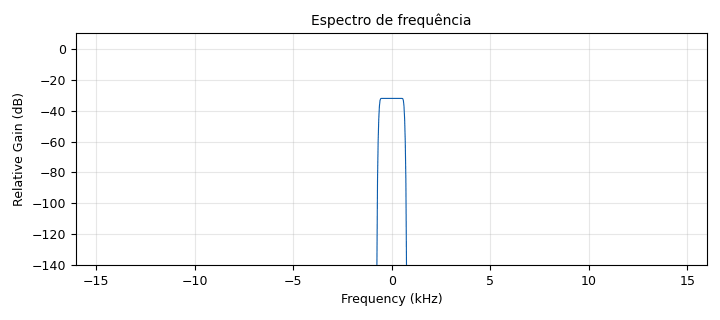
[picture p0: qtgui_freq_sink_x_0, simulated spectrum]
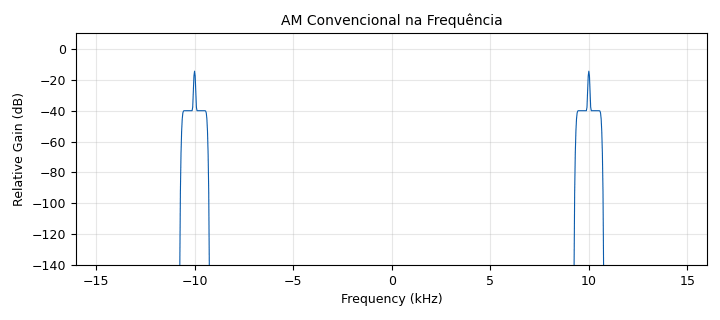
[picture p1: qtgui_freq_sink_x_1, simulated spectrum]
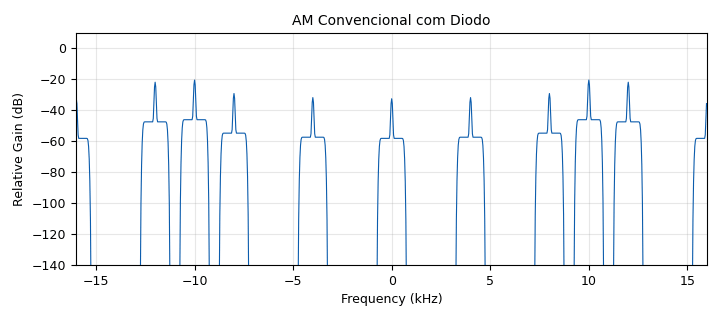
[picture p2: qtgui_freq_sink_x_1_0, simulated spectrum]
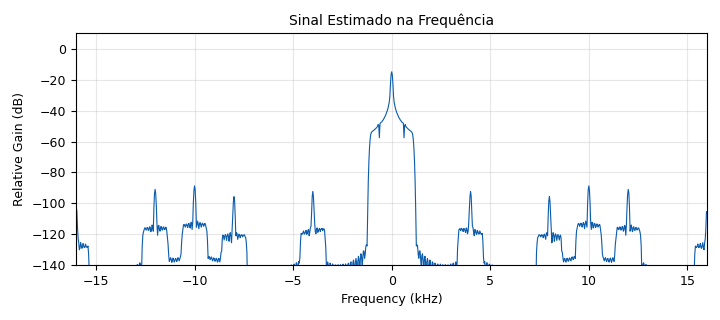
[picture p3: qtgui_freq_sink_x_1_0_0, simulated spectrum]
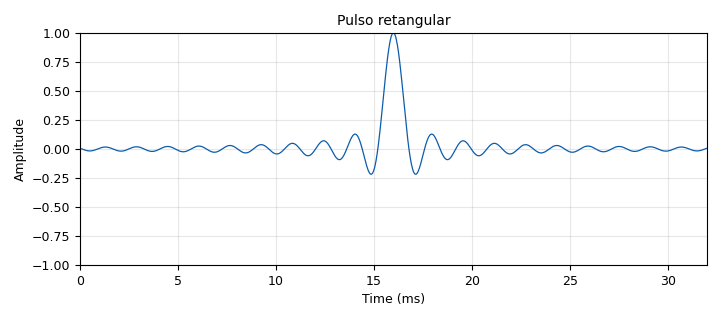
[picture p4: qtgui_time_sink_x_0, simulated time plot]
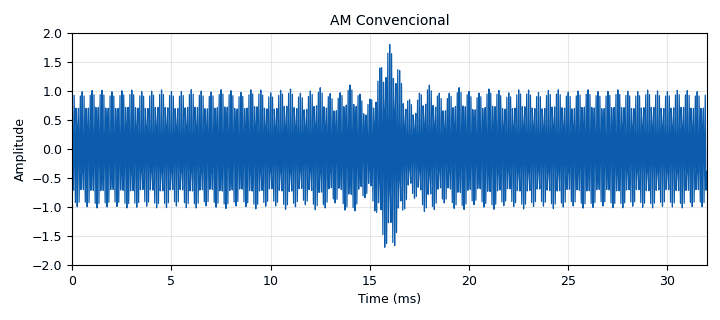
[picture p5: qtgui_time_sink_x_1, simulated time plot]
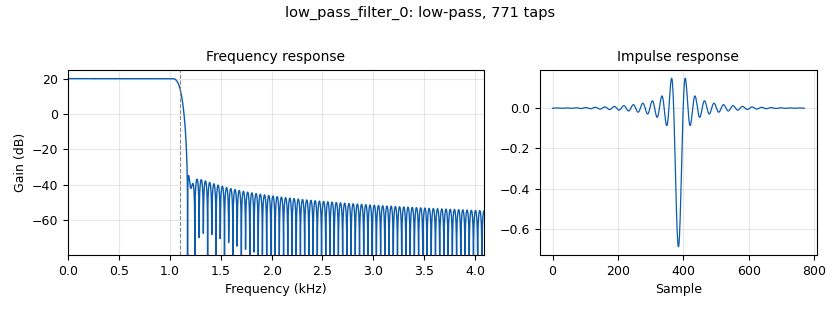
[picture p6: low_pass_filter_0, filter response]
options:
  parameters:
    author: araujo
    generate_options: qt_gui
    id: pulse
    output_language: python
    title: Gen_pulse
  states: {}

blocks:
- name: mu
  id: variable
  parameters:
    value: '0.8'
  states: {}
- name: pulse_len
  id: variable
  parameters:
    value: int(2**9)
  states: {}
- name: samp_rate
  id: variable
  parameters:
    value: '32000'
  states: {}
- name: signal_len
  id: variable
  parameters:
    value: int(1024)
  states: {}
- name: analog_const_source_x_0
  id: analog_const_source_x
  parameters:
    const: mu
    type: float
  states: {}
- name: analog_sig_source_x_0
  id: analog_sig_source_x
  parameters:
    amp: '1'
    freq: 10e3
    offset: '0'
    phase: '0'
    samp_rate: samp_rate
    type: float
    waveform: analog.GR_COS_WAVE
  states: {}
- name: analog_sig_source_x_1
  id: analog_sig_source_x
  parameters:
    amp: '1'
    freq: 10e3
    offset: '0'
    phase: '0'
    samp_rate: samp_rate
    type: float
    waveform: analog.GR_SQR_WAVE
  states: {}
- name: blocks_add_xx_0
  id: blocks_add_xx
  parameters:
    type: float
  states: {}
- name: blocks_multiply_xx_0
  id: blocks_multiply_xx
  parameters:
    type: float
  states: {}
- name: blocks_multiply_xx_0_0
  id: blocks_multiply_xx
  parameters:
    type: float
  states: {}
- name: blocks_multiply_xx_1
  id: blocks_multiply_xx
  parameters:
    type: float
  states: {}
- name: blocks_throttle_0
  id: blocks_throttle
  parameters:
    samples_per_second: samp_rate
    type: float
  states: {}
- name: blocks_vector_source_x_0
  id: blocks_vector_source_x
  parameters:
    repeat: 'False'
    type: float
    vector: gen_signal.sinc_gnu(100,32e-3,signal_len)
  states: {}
- name: gen_signal
  id: epy_module
  parameters:
    source_code: "# this module will be imported in the into your flowgraph\nimport numpy as np\n\n\ndef sinc_gnu(freq,Tmax,pulse_len):\n\n    t = np.linspace(-Tmax,Tmax,int(pulse_len))\n    x = np.sinc(2*np.pi*freq*t)\n    return list(x)\n    \n    \n    \n"
  states: {}
- name: low_pass_filter_0
  id: low_pass_filter
  parameters:
    cutoff_freq: 1.1e3
    decim: '1'
    gain: '-10'
    samp_rate: samp_rate
    type: fir_filter_fff
    width: '100'
    win: window.WIN_HAMMING
  states: {}
- name: qtgui_freq_sink_x_0
  id: qtgui_freq_sink_x
  parameters:
    bw: samp_rate
    fc: '0'
    fftsize: '1024'
    name: Espectro de frequência
    type: float
  states: {}
- name: qtgui_freq_sink_x_1
  id: qtgui_freq_sink_x
  parameters:
    bw: samp_rate
    fc: '0'
    fftsize: '1024'
    name: AM Convencional na Frequência
    type: float
  states: {}
- name: qtgui_freq_sink_x_1_0
  id: qtgui_freq_sink_x
  parameters:
    bw: samp_rate
    fc: '0'
    fftsize: '1024'
    name: AM Convencional com Diodo
    type: float
  states: {}
- name: qtgui_freq_sink_x_1_0_0
  id: qtgui_freq_sink_x
  parameters:
    bw: samp_rate
    fc: '0'
    fftsize: '1024'
    name: Sinal Estimado na Frequência
    type: float
  states: {}
- name: qtgui_time_sink_x_0
  id: qtgui_time_sink_x
  parameters:
    name: Pulso retangular
    size: signal_len
    srate: samp_rate
    type: float
  states: {}
- name: qtgui_time_sink_x_1
  id: qtgui_time_sink_x
  parameters:
    name: AM Convencional
    size: '1024'
    srate: samp_rate
    type: float
    ymax: '2'
    ymin: '-2'
  states: {}
- name: qtgui_time_sink_x_2
  id: qtgui_time_sink_x
  parameters:
    name: Sinal estimado no tempo
    size: '1024'
    srate: samp_rate
    type: float
    ymax: '2'
    ymin: '-2'
  states: {}
- name: qtgui_time_sink_x_3
  id: qtgui_time_sink_x
  parameters:
    name: Sinal no tempo no diodo
    size: '1024'
    srate: samp_rate
    type: float
    ymax: '2'
    ymin: '-2'
  states: {}
- name: qtgui_time_sink_x_4
  id: qtgui_time_sink_x
  parameters:
    name: Onda Quadrada
    size: '1024'
    srate: samp_rate
    type: float
  states: {}

connections:
- [analog_const_source_x_0, '0', blocks_multiply_xx_1, '1']
- [analog_sig_source_x_0, '0', blocks_add_xx_0, '1']
- [analog_sig_source_x_0, '0', blocks_multiply_xx_0, '1']
- [analog_sig_source_x_1, '0', blocks_multiply_xx_0_0, '1']
- [analog_sig_source_x_1, '0', qtgui_time_sink_x_4, '0']
- [blocks_add_xx_0, '0', blocks_multiply_xx_0_0, '0']
- [blocks_add_xx_0, '0', qtgui_freq_sink_x_1, '0']
- [blocks_add_xx_0, '0', qtgui_time_sink_x_1, '0']
- [blocks_multiply_xx_0, '0', blocks_add_xx_0, '0']
- [blocks_multiply_xx_0_0, '0', low_pass_filter_0, '0']
- [blocks_multiply_xx_0_0, '0', qtgui_freq_sink_x_1_0, '0']
- [blocks_multiply_xx_0_0, '0', qtgui_time_sink_x_3, '0']
- [blocks_multiply_xx_1, '0', blocks_multiply_xx_0, '0']
- [blocks_throttle_0, '0', qtgui_freq_sink_x_0, '0']
- [blocks_throttle_0, '0', qtgui_time_sink_x_0, '0']
- [blocks_vector_source_x_0, '0', blocks_multiply_xx_1, '0']
- [blocks_vector_source_x_0, '0', blocks_throttle_0, '0']
- [low_pass_filter_0, '0', qtgui_freq_sink_x_1_0_0, '0']
- [low_pass_filter_0, '0', qtgui_time_sink_x_2, '0']

metadata:
  file_format: 1
